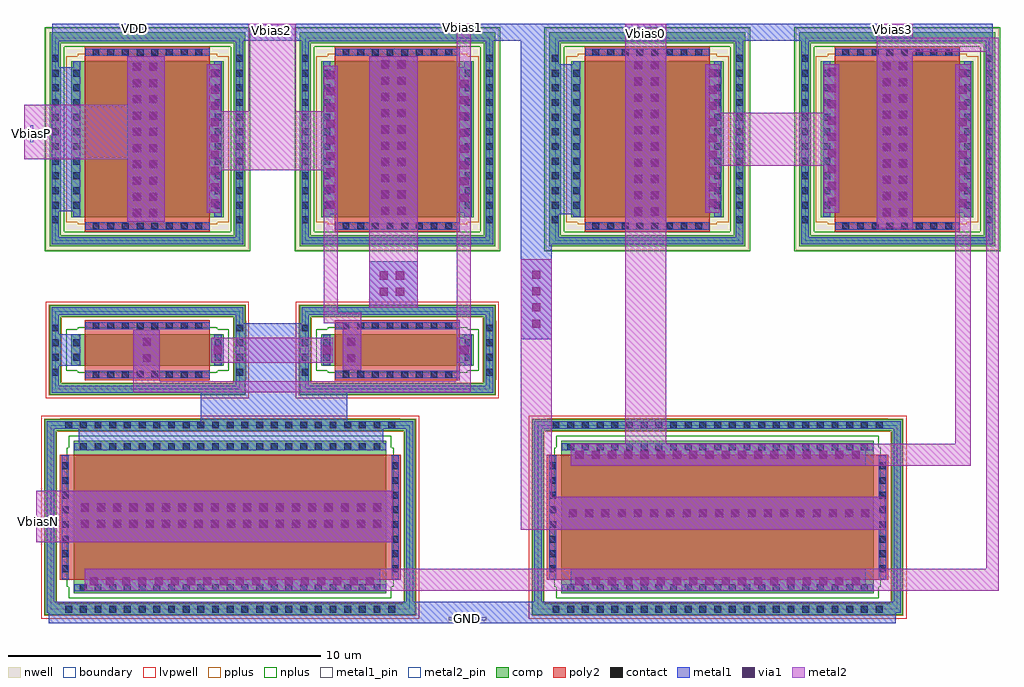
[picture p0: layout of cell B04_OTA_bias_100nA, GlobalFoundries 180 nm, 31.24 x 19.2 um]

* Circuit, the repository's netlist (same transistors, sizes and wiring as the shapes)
** sch_path: /foss/designs/AURA-Event-Driven-Mixed-Signal-ASIC-for-Acoustic-Pattern-Detection/analog/B04_OTA_bias_100nA.sch
.subckt B04_OTA_bias_100nA VDD Vbias2 Vbias1 Vbias0 Vbias3 GND VbiasP VbiasN
*.PININFO VDD:B Vbias2:O Vbias1:O Vbias0:O Vbias3:O GND:B VbiasP:I VbiasN:I
M1 Vbias1 GND Vbias2 VDD pfet_03v3 L=4u W=5u nf=1
M4 Vbias1 Vbias2 net1 GND nfet_03v3 L=4u W=1u nf=1
M5 net1 Vbias1 GND GND nfet_03v3 L=4u W=1u nf=1
M9 net2 Vbias3 Vbias0 VDD pfet_03v3 L=4u W=5u nf=1
M10 VDD Vbias0 net2 VDD pfet_03v3 L=4u W=5u nf=1
M6 Vbias3 VDD Vbias0 GND nfet_03v3 L=4u W=10u nf=1
M2 Vbias2 VbiasP VDD VDD pfet_03v3 L=4u W=5u nf=1
M3 GND VbiasN Vbias3 GND nfet_03v3 L=4u W=10u nf=1
.ends

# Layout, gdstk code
from math import pi, radians
import gdstk
lib = gdstk.Library(unit=1e-6, precision=1e-09)
def R(c, l, rs):  # rectangles x0, y0, x1, y1
    for r in rs: c.add(gdstk.rectangle(r[:2], r[2:], *l))
def A(c, l, x, y, w, h, nx, ny, dx, dy):  # array of equal rectangles
    R(c, l, [(x+i*dx, y+j*dy, x+i*dx+w, y+j*dy+h) for i in range(nx) for j in range(ny)])
boundary = (0, 0)
nwell = (21, 0)
comp = (22, 0)
poly2 = (30, 0)
pplus = (31, 0)
nplus = (32, 0)
contact = (33, 0)
metal1 = (34, 0)
metal1_pin = (34, 10)
via1 = (35, 0)
metal2 = (36, 0)
metal2_pin = (36, 10)
lvpwell = (204, 0)

nfet_03v3_gptq69 = lib.new_cell('nfet_03v3_GPTQ69')
R(nfet_03v3_gptq69, boundary, [(-2.95,-5.75,2.95,5.75)])
R(nfet_03v3_gptq69, comp, [(-3.13,-5.93,3.13,-5.57), (-3.13,-5.57,-2.77,5.57), (2.77,-5.57,3.13,5.57), (-2.44,-5,2.44,5), (-3.13,5.57,3.13,5.93)])
R(nfet_03v3_gptq69, poly2, [(-2,-5.46,2,5.46)])
R(nfet_03v3_gptq69, pplus, [(-3.15,-5.95,3.15,-5.55), (-3.15,-5.55,-2.74,-5.445), (2.74,-5.55,3.15,-5.445), (-3.16,-5.445,-2.74,5.445), (2.74,-5.445,3.16,5.445), (-3.15,5.445,-2.74,5.55), (2.74,5.445,3.15,5.55), (-3.15,5.55,3.15,5.95)])
R(nfet_03v3_gptq69, nplus, [(-2.23,-5.23,2.23,-5.16), (-2.6,-5.16,2.6,5.16), (-2.23,5.16,2.23,5.23)])
A(nfet_03v3_gptq69, contact, -1.755, -5.39, 0.22, 0.22, 8, 2, 0.47, 10.56)
A(nfet_03v3_gptq69, contact, -3.06, -5.28, 0.22, 0.22, 1, 23, 0, 0.47)
A(nfet_03v3_gptq69, contact, 2.84, -5.28, 0.22, 0.22, 1, 23, 0, 0.47)
A(nfet_03v3_gptq69, contact, -2.37, -4.81, 0.22, 0.22, 1, 21, 0, 0.47)
A(nfet_03v3_gptq69, contact, 2.15, -4.81, 0.22, 0.22, 1, 21, 0, 0.47)
R(nfet_03v3_gptq69, metal1, [(-3.065,-5.865,3.065,-5.635), (-3.065,-5.635,-2.835,5.635), (2.835,-5.635,3.065,5.635), (-1.99,-5.395,1.99,-5.165), (-2.375,-4.99,-2.145,4.99), (2.145,-4.99,2.375,4.99), (-1.99,5.165,1.99,5.395), (-3.065,5.635,3.065,5.865)])
R(nfet_03v3_gptq69, lvpwell, [(-3.25,-6.05,3.25,6.05)])

pfet_03v3_aerj7t = lib.new_cell('pfet_03v3_AERJ7T')
R(pfet_03v3_aerj7t, boundary, [(-2.95,-3.25,2.95,3.25)])
R(pfet_03v3_aerj7t, nwell, [(-3.25,-3.55,3.25,3.55)])
R(pfet_03v3_aerj7t, comp, [(-3.13,-3.43,3.13,-3.07), (-3.13,-3.07,-2.77,3.07), (2.77,-3.07,3.13,3.07), (-2.44,-2.5,2.44,2.5), (-3.13,3.07,3.13,3.43)])
R(pfet_03v3_aerj7t, poly2, [(-2,-2.96,2,2.96)])
R(pfet_03v3_aerj7t, pplus, [(-2.23,-2.73,2.23,-2.66), (-2.6,-2.66,2.6,2.66), (-2.23,2.66,2.23,2.73)])
R(pfet_03v3_aerj7t, nplus, [(-3.29,-3.59,3.29,-2.96), (-3.29,-2.96,-2.66,2.96), (2.66,-2.96,3.29,2.96), (-3.29,2.96,3.29,3.59)])
A(pfet_03v3_aerj7t, contact, -1.755, -2.89, 0.22, 0.22, 8, 2, 0.47, 5.56)
A(pfet_03v3_aerj7t, contact, -3.06, -2.695, 0.22, 0.22, 1, 12, 0, 0.47)
A(pfet_03v3_aerj7t, contact, 2.84, -2.695, 0.22, 0.22, 1, 12, 0, 0.47)
A(pfet_03v3_aerj7t, contact, -2.37, -2.225, 0.22, 0.22, 1, 10, 0, 0.47)
A(pfet_03v3_aerj7t, contact, 2.15, -2.225, 0.22, 0.22, 1, 10, 0, 0.47)
R(pfet_03v3_aerj7t, metal1, [(-3.065,-3.365,3.065,-3.135), (-3.065,-3.135,-2.835,3.135), (2.835,-3.135,3.065,3.135), (-1.99,-2.895,1.99,-2.665), (-2.375,-2.49,-2.145,2.49), (2.145,-2.49,2.375,2.49), (-1.99,2.665,1.99,2.895), (-3.065,3.135,3.065,3.365)])

nfet_03v3_rec73x = lib.new_cell('nfet_03v3_REC73X')
R(nfet_03v3_rec73x, boundary, [(-2.95,-1.25,2.95,1.25)])
R(nfet_03v3_rec73x, comp, [(-3.13,-1.43,3.13,-1.07), (-3.13,-1.07,-2.77,1.07), (2.77,-1.07,3.13,1.07), (-2.44,-0.5,2.44,0.5), (-3.13,1.07,3.13,1.43)])
R(nfet_03v3_rec73x, poly2, [(-2,-0.96,2,0.96)])
R(nfet_03v3_rec73x, pplus, [(-3.15,-1.45,3.15,-1.05), (-3.15,-1.05,-2.74,-0.945), (2.74,-1.05,3.15,-0.945), (-3.16,-0.945,-2.74,0.945), (2.74,-0.945,3.16,0.945), (-3.15,0.945,-2.74,1.05), (2.74,0.945,3.15,1.05), (-3.15,1.05,3.15,1.45)])
R(nfet_03v3_rec73x, nplus, [(-2.23,-0.73,2.23,-0.66), (-2.6,-0.66,2.6,0.66), (-2.23,0.66,2.23,0.73)])
A(nfet_03v3_rec73x, contact, -1.755, -0.89, 0.22, 0.22, 8, 2, 0.47, 1.56)
A(nfet_03v3_rec73x, contact, -3.06, -0.815, 0.22, 0.22, 1, 4, 0, 0.47)
A(nfet_03v3_rec73x, contact, 2.84, -0.815, 0.22, 0.22, 1, 4, 0, 0.47)
R(nfet_03v3_rec73x, contact, [(-2.37,-0.345,-2.15,-0.125), (2.15,-0.345,2.37,-0.125), (-2.37,0.125,-2.15,0.345), (2.15,0.125,2.37,0.345)])
R(nfet_03v3_rec73x, metal1, [(-3.065,-1.365,3.065,-1.135), (-3.065,-1.135,-2.835,1.135), (2.835,-1.135,3.065,1.135), (-1.99,-0.895,1.99,-0.665), (-2.375,-0.49,-2.145,0.49), (2.145,-0.49,2.375,0.49), (-1.99,0.665,1.99,0.895), (-3.065,1.135,3.065,1.365)])
R(nfet_03v3_rec73x, lvpwell, [(-3.25,-1.55,3.25,1.55)])

b04_ota_bias_100na = lib.new_cell('B04_OTA_bias_100nA')
R(b04_ota_bias_100na, metal1, [(-0.4,-12.25,26.7,-11.55), (0.75,-11.2,10.2,-10.5), (16.3,-11.2,25.75,-10.5), (0.05,-9.65,10.75,-8), (15.65,-9.25,26.35,-8.2), (16.3,-7.2,25.75,-6.5), (0.55,-6.6,10.3,-5.9), (4.45,-5.9,9.15,-4.75), (5.75,-4.75,7.7,-4.4), (5.6,-4.4,7.85,-2.65), (9,-4.4,9.45,-4.2), (2.3,-4.35,3.15,-2.65), (9,-4.2,9.6,-2.8), (-0.25,-4,0.5,-3), (4.8,-3.9,5.2,-3.1), (8.3,-3.9,8.7,-3.1), (12.65,-3.9,13.1,-3.1), (14.7,-3.15,15.7,6.4), (9,-2.8,9.45,-2.65), (9.85,-2.2,11.4,-0.65), (2.1,0.4,3.3,6.1), (9.85,0.4,11.4,6.1), (18.05,0.4,19.35,6.1), (26.1,0.4,27.25,6.05), (8.4,0.85,8.85,5.6), (15.75,0.85,16.6,5.65), (4.65,0.9,4.95,1), (12.65,0.9,13,1), (20.6,0.9,21.05,5.65), (24.45,0.9,24.9,5.65), (28.6,0.9,29.1,5.65), (-0.3,0.95,0.55,5.55), (4.65,1,5.05,5.55), (12.65,1,13.05,5.4), (12.65,5.4,13,5.55), (4.65,5.55,4.95,5.65), (-0.3,6.4,29.8,6.95)])
R(b04_ota_bias_100na, metal1_pin, [(12.4,-12.15,13.6,-12.05), (1.95,6.75,2.7,6.85)])
A(b04_ota_bias_100na, via1, 0.9, -11.03, 0.26, 0.26, 18, 1, 0.52, 0)
A(b04_ota_bias_100na, via1, 16.45, -11.03, 0.26, 0.26, 18, 2, 0.52, 4.05)
A(b04_ota_bias_100na, via1, 0.615, -9.19, 0.26, 0.26, 19, 2, 0.52, 0.52)
A(b04_ota_bias_100na, via1, 16.24, -8.855, 0.26, 0.26, 19, 1, 0.52, 0)
A(b04_ota_bias_100na, via1, 15.07, -2.785, 0.26, 0.26, 1, 4, 0, 0.52)
A(b04_ota_bias_100na, via1, 2.285, 0.755, 0.26, 0.26, 1, 10, 0, 0.52)
A(b04_ota_bias_100na, via1, 2.805, 0.755, 0.26, 0.26, 1, 10, 0, 0.52)
A(b04_ota_bias_100na, via1, 26.285, 0.78, 0.26, 0.26, 1, 10, 0, 0.52)
A(b04_ota_bias_100na, via1, 26.805, 0.78, 0.26, 0.26, 1, 10, 0, 0.52)
A(b04_ota_bias_100na, via1, 18.335, 0.805, 0.26, 0.26, 1, 10, 0, 0.52)
A(b04_ota_bias_100na, via1, 18.855, 0.805, 0.26, 0.26, 1, 10, 0, 0.52)
A(b04_ota_bias_100na, via1, 10.235, 0.83, 0.26, 0.26, 1, 10, 0, 0.52)
A(b04_ota_bias_100na, via1, 10.755, 0.83, 0.26, 0.26, 1, 10, 0, 0.52)
A(b04_ota_bias_100na, via1, 8.47, 1.015, 0.26, 0.26, 1, 9, 0, 0.52)
A(b04_ota_bias_100na, via1, 4.77, 1.065, 0.26, 0.26, 1, 9, 0, 0.52)
A(b04_ota_bias_100na, via1, 20.72, 1.065, 0.26, 0.26, 1, 9, 0, 0.52)
A(b04_ota_bias_100na, via1, 28.72, 1.065, 0.26, 0.26, 1, 9, 0, 0.52)
A(b04_ota_bias_100na, via1, 24.52, 1.115, 0.26, 0.26, 1, 9, 0, 0.52)
A(b04_ota_bias_100na, via1, 12.77, 1.25, 0.26, 0.26, 1, 8, 0, 0.52)
R(b04_ota_bias_100na, via1, [(2.595,-3.89,2.855,-3.63), (9.145,-3.89,9.405,-3.63), (4.87,-3.63,5.13,-3.37), (8.37,-3.63,8.63,-3.37), (12.77,-3.63,13.03,-3.37), (2.595,-3.37,2.855,-3.11), (9.145,-3.37,9.405,-3.11), (10.185,-1.765,10.445,-1.505), (10.705,-1.765,10.965,-1.505), (10.185,-1.245,10.445,-0.985), (10.705,-1.245,10.965,-0.985)])
R(b04_ota_bias_100na, metal2, [(0.75,-11.2,30,-10.5), (29.6,-10.5,30,6.05), (-0.8,-9.65,10.6,-8), (14.7,-9.25,26.35,-8.2), (14.7,-8.2,15.7,-0.6), (16.3,-7.2,29.1,-6.5), (18.05,-6.5,19.35,6.95), (28.6,-6.5,29.1,5.65), (2.3,-4.85,13.1,-4.5), (2.3,-4.5,3.15,-2.85), (12.65,-4.5,13.1,6.95), (9,-4.15,9.6,-2.65), (4.8,-3.9,8.7,-3.1), (8.4,-2.65,9.6,-2.3), (8.4,-2.3,8.85,2.25), (9.85,-2.15,11.4,5.9), (26.1,0.4,27.25,6.05), (2.1,0.6,3.3,2.6), (4.65,0.9,5.1,2.25), (20.6,0.9,21.05,2.4), (24.4,0.9,24.9,2.4), (4.65,2.25,8.85,4.15), (20.6,2.4,24.9,4.1), (-1.2,2.6,3.3,4.35), (20.6,4.1,21.05,5.65), (24.4,4.1,24.9,5.65), (4.65,4.15,5.1,5.65), (6,4.15,7.5,6.95), (8.4,4.15,8.85,5.6), (2.1,4.35,3.3,5.9), (26.1,6.05,30,6.5), (26.1,6.5,27.25,6.95)])
R(b04_ota_bias_100na, metal2_pin, [(-0.8,-9.1,-0.65,-8.85), (-1,3.15,-0.9,3.7), (18.4,6.5,19,6.75), (6.55,6.65,6.9,6.8), (26.3,6.7,26.9,6.85), (12.75,6.75,12.95,6.9)])
R(b04_ota_bias_100na, lvpwell, [(4.8,-3.9,5,-3.75)])
b04_ota_bias_100na.add(gdstk.Reference(nfet_03v3_gptq69, (21,-8.85), rotation=3*pi/2))
b04_ota_bias_100na.add(gdstk.Reference(pfet_03v3_aerj7t, (26.75,3.25)))
b04_ota_bias_100na.add(gdstk.Reference(pfet_03v3_aerj7t, (18.75,3.25)))
b04_ota_bias_100na.add(gdstk.Reference(nfet_03v3_gptq69, (5.4,-8.85), rotation=3*pi/2))
b04_ota_bias_100na.add(gdstk.Reference(nfet_03v3_rec73x, (2.75,-3.5)))
b04_ota_bias_100na.add(gdstk.Reference(nfet_03v3_rec73x, (10.75,-3.5)))
b04_ota_bias_100na.add(gdstk.Reference(pfet_03v3_aerj7t, (2.75,3.25)))
b04_ota_bias_100na.add(gdstk.Reference(pfet_03v3_aerj7t, (10.75,3.25)))
b04_ota_bias_100na.add(gdstk.Label('VDD', (2.325,6.8), layer=34, texttype=10))
b04_ota_bias_100na.add(gdstk.Label('Vbias2', (6.725,6.725), layer=36, texttype=10))
b04_ota_bias_100na.add(gdstk.Label('Vbias1', (12.85,6.825), layer=36, texttype=10))
b04_ota_bias_100na.add(gdstk.Label('VbiasP', (-0.95,3.425), layer=36, texttype=10))
b04_ota_bias_100na.add(gdstk.Label('VbiasN', (-0.725,-8.975), layer=36, texttype=10))
b04_ota_bias_100na.add(gdstk.Label('Vbias0', (18.7,6.625), layer=36, texttype=10))
b04_ota_bias_100na.add(gdstk.Label('Vbias3', (26.6,6.775), layer=36, texttype=10))
b04_ota_bias_100na.add(gdstk.Label('GND', (13,-12.1), layer=34, texttype=10))

lib.write_gds('B04_OTA_bias_100nA.gds')
